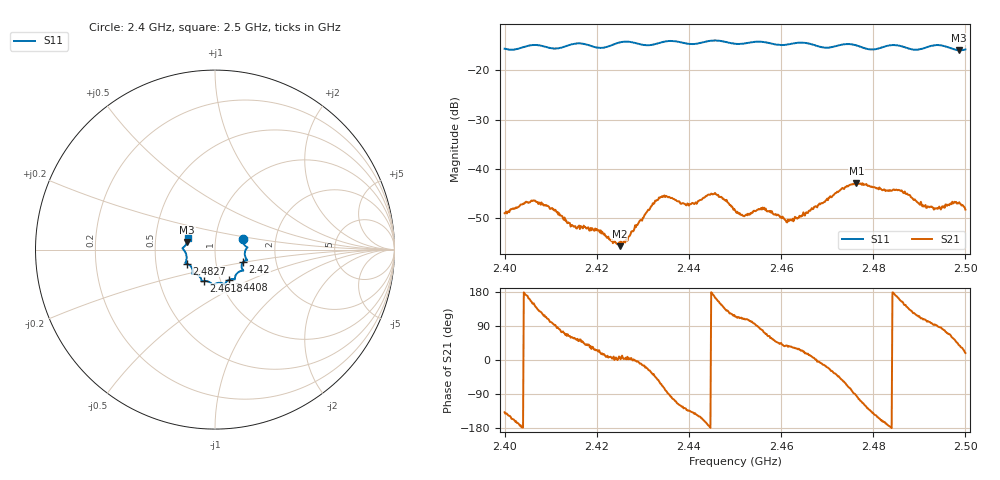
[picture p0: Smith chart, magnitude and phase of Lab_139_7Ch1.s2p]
# Hz S RI R
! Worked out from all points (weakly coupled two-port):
!   601 points, 2.4 GHz to 2.5 GHz, reference 50 ohm
!   highest |S21| = -42.88 dB at 2.4763 GHz (marker M1); lowest = -55.8 dB at 2.425 GHz (marker M2)
!   lowest |S11| = -15.9 dB at 2.4987 GHz (marker M3), VSWR 1.38, Z = 36.5 + j3.23 ohm
!   |S11| at or under -10 dB: start of sweep to end of sweep
!   S12 and S22 are empty: the file has one direction only
!   S11 on the Smith chart (normalised r, x): 2.4 GHz: 1.35, +0.17; 2.42 GHz: 1.36, -0.19; 2.4408 GHz: 1.10, -0.38; 2.4618 GHz: 0.83, -0.30; 2.4827 GHz: 0.72, -0.12; 2.5 GHz: 0.73, +0.09
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2.4e9  0.1549 0.0614  -0.00262 -0.00236  0 0  0 0
2.406333e9  0.1816 0.0126  -0.00411 0.00242  0 0  0 0
2.411167e9  0.1659 -0.0202  6.03e-05 0.00372  0 0  0 0
2.414e9  0.1739 -0.0511  0.00128 0.0025  0 0  0 0
2.416667e9  0.1786 -0.0587  0.00173 0.0019  0 0  0 0
2.42e9  0.1567 -0.069  0.00219 0.00107  0 0  0 0
2.425e9  0.1558 -0.1143  0.00162 0.00019  0 0  0 0
2.433333e9  0.1115 -0.1527  0.00296 -0.00384  0 0  0 0
2.440833e9  0.0779 -0.1685  -0.00334 -0.003  0 0  0 0
2.445333e9  0.0532 -0.1947  -0.00544 0.000859  0 0  0 0
2.45e9  0.0269 -0.185  -0.00159 0.00342  0 0  0 0
2.452167e9  0.00476 -0.1886  -0.000974 0.00319  0 0  0 0
2.456167e9  -0.014 -0.1945  0.00103 0.00375  0 0  0 0
2.461833e9  -0.0612 -0.1752  0.00239 0.00175  0 0  0 0
2.466667e9  -0.0762 -0.1682  0.00392 0.000632  0 0  0 0
2.476333e9  -0.1251 -0.1295  -0.000504 -0.00716  0 0  0 0
2.482667e9  -0.158 -0.0779  -0.00578 -0.00128  0 0  0 0
2.483333e9  -0.1621 -0.0768  -0.00599 -0.000682  0 0  0 0
2.485833e9  -0.1636 -0.0701  -0.00554 0.00227  0 0  0 0
2.4935e9  -0.1809 0.0061  -0.000179 0.00392  0 0  0 0
2.498667e9  -0.1544 0.043  0.00356 0.00284  0 0  0 0
2.5e9  -0.1512 0.063  0.00364 0.00122  0 0  0 0
